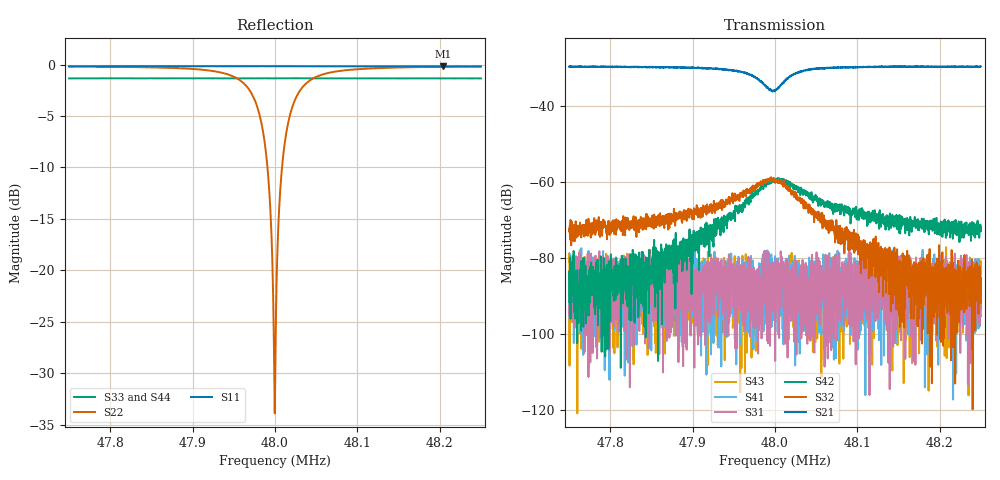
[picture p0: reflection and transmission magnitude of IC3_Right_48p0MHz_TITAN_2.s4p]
#  HZ  S  DB  R  50.00
! Rohde & Schwarz Vector Network Analyzer
! Rohde-Schwarz,ZNB8-4Port,1311601044102961,2.82
! Created: UTC 2/8/2019, 2:31:42 PM
! freq[Hz]  db:S11  ang:S11  db:S12  ang:S12  db:S13  ang:S13  db:S14  ang:S14
!  db:S21  ang:S21  db:S22  ang:S22  db:S23  ang:S23  db:S24  ang:S24
!  db:S31  ang:S31  db:S32  ang:S32  db:S33  ang:S33  db:S34  ang:S34
!  db:S41  ang:S41  db:S42  ang:S42  db:S43  ang:S43  db:S44  ang:S44
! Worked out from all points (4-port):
!   2001 points, 47.75 MHz to 48.25 MHz, reference 50 ohm
!   strongest paths, dB at 47.75 MHz, 47.875 MHz, 48 MHz, 48.125 MHz, 48.25 MHz:
!     S21: -29.8, -29.9, -36.3, -29.8, -29.7
!     S32: -72.5, -69.0, -59.9, -86.1, -92.0
!     S42: -85.3, -77.9, -59.4, -70.2, -71.8
!     S31: -92.7, -81.8, -82.8, -89.0, -93.4
!     S41: -89.7, -84.0, -79.5, -90.4, -95.3
!     S43: -80.9, -91.1, -82.5, -85.8, -84.3
!   lowest |S11| = -0.2 dB at 48.205 MHz (marker M1), VSWR 92.13, Z = 0.799 - j34.3 ohm
!   |S11| at or under -10 dB: nowhere
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4.775e7  -0.17 -101.5  -29.79 -139.1  -91.42 121.8  -108.24 12.5
         -29.76 -139.3  -0.20 4.6  -71.29 -20.3  -87.99 -25.9
         -92.75 6.5  -72.49 -22.3  -1.35 132.5  -89.17 62.9
         -89.70 -132.7  -85.34 155.8  -80.92 52.7  -1.35 139.9
4.7967e7  -0.17 -106.0  -31.66 -159.0  -100.61 -161.9  -85.95 -116.7
          -31.65 -158.9  -2.26 -38.4  -62.11 -52.7  -64.23 110.8
          -87.35 151.5  -62.69 -60.6  -1.34 129.9  -97.87 -175.8
          -86.44 64.3  -64.26 117.0  -94.32 -146.3  -1.34 137.3
4.798925e7  -0.17 -106.5  -35.10 -156.9  -84.34 153.8  -90.71 -127.7
            -34.80 -157.0  -8.71 -71.1  -59.14 -89.8  -60.77 84.4
            -86.39 -66.1  -59.80 -92.1  -1.34 129.6  -94.52 -73.7
            -86.52 144.0  -60.29 87.9  -87.02 -110.9  -1.34 137.0
4.799975e7  -0.17 -106.8  -36.01 -137.1  -79.23 121.9  -89.48 36.2
            -36.13 -136.4  -33.89 168.6  -59.53 -115.1  -59.94 63.1
            -81.76 172.2  -60.04 -113.6  -1.34 129.4  -90.38 -61.1
            -96.35 -114.8  -59.90 61.0  -87.86 98.0  -1.34 136.8
4.80295e7  -0.17 -107.3  -31.10 -125.8  -89.40 112.7  -83.66 177.4
           -31.28 -125.5  -2.63 40.5  -64.09 -163.1  -61.85 15.0
           -93.38 -163.8  -65.02 -160.0  -1.34 129.1  -83.85 62.9
           -101.26 -143.3  -62.72 22.1  -102.19 -48.7  -1.34 136.5
4.82045e7  -0.19 -111.0  -29.86 -146.7  -88.99 112.6  -93.71 124.3
           -29.79 -146.5  -0.21 -1.5  -85.60 -144.6  -70.53 -17.3
           -83.61 -68.1  -90.24 24.8  -1.34 127.0  -86.74 2.7
           -85.15 -172.9  -70.36 -18.2  -84.98 -39.9  -1.35 134.3
4.825e7  -0.18 -112.0  -29.86 -148.2  -93.80 -18.7  -83.76 14.7
         -29.71 -149.1  -0.19 -4.8  -82.93 -75.3  -73.75 -18.5
         -93.43 -179.2  -91.97 -27.0  -1.35 126.5  -100.16 51.4
         -95.25 16.4  -71.77 -5.3  -84.29 -85.9  -1.35 133.8
